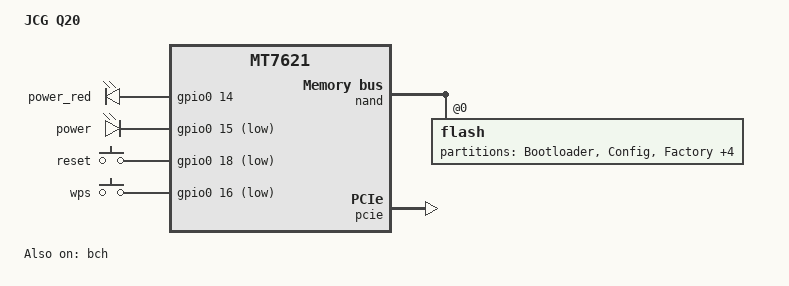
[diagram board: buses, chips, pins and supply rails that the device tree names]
/dts-v1/;

#include "mt7621.dtsi"
#include <dt-bindings/input/input.h>
#include "mt7621-raeth-gmac2.dtsi"
#include "mt7621-pinctrl-default-gpio.dtsi"

/ {
	compatible = "mediatek,mt7621-soc";
	model = "JCG Q20";

	chosen {
		bootargs = "console=ttyS0,115200";
	};

	leds {
		compatible = "gpio-leds";

		sys_red {
			label = "power_red";
			gpios = <&gpio0 14 GPIO_ACTIVE_HIGH>;
		};

		sys_blue {
			label = "power";
			gpios = <&gpio0 15 GPIO_ACTIVE_LOW>;
		};
	};

	gpio-keys-polled {
		compatible = "gpio-keys-polled";
		#address-cells = <1>;
		#size-cells = <0>;
		poll-interval = <20>;

		reset {
			label = "reset";
			gpios = <&gpio0 18 GPIO_ACTIVE_LOW>;
			linux,code = <KEY_RESTART>;
		};

		wps {
			label = "wps";
			gpios = <&gpio0 16 GPIO_ACTIVE_LOW>;
			linux,code = <KEY_WPS_BUTTON>;
		};
	};
};

&bch {
	status = "okay";
};

&nand {
	status = "okay";

	flash@0 {
		reg = <0>;
		nand-ecc-mode = "hw";
		partitions {
			compatible = "fixed-partitions";
			#address-cells = <1>;
			#size-cells = <1>;

			partition@0 {
				label = "Bootloader";
				reg = <0x0 0x80000>; /* 512k */
			};

			partition@80000 {
				label = "Config";
				reg = <0x80000 0x80000>; /* 512k */
			};

			partition@100000 {
				label = "Factory";
				reg = <0x100000 0x80000>; /* 512k */
			};

			partition@180000 {
				label = "firmware";
				reg = <0x180000 0x1800000>;	/* 24M */
			};

			partition@1980000 {
				label = "Storage";
				reg = <0x1980000 0x400000>; /* 4096K */
			};

			partition@1d80000 {
				label = "RWFS";
				reg = <0x1d80000 0x6200000>;
			};

			partition@all {
				label = "ALL";
				reg = <0x0 0x7f80000>;
			};
		};
	};
};

&pcie {
	status = "okay";
};
